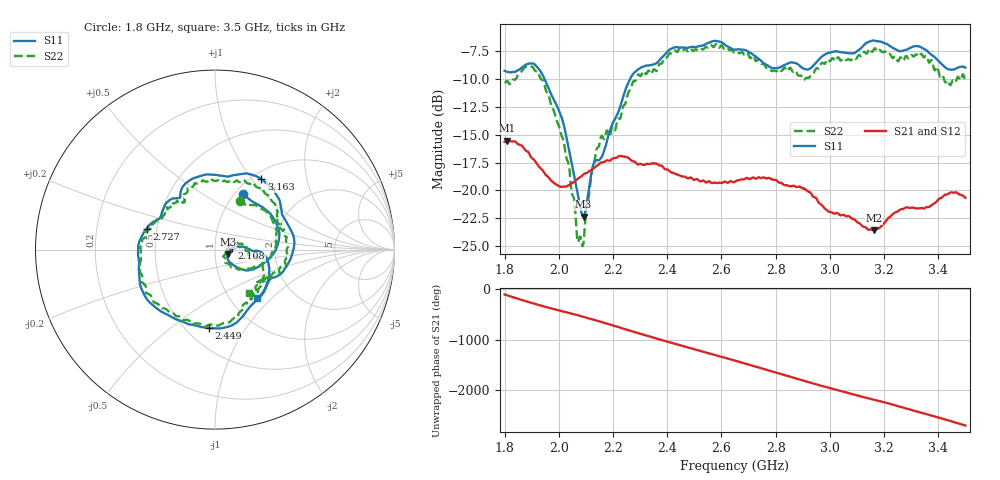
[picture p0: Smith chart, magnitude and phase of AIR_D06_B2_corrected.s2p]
! Created with skrf 1.9.0 (http://scikit-rf.org).
# Hz S RI R 50.0
!freq ReS11 ImS11 ReS21 ImS21 ReS12 ImS12 ReS22 ImS22
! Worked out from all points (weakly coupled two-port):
!   1601 points, 1.8 GHz to 3.5 GHz, reference 50 ohm
!   highest |S21| = -15.54 dB at 1.811 GHz (marker M1); lowest = -23.6 dB at 3.163 GHz (marker M2)
!   lowest |S11| = -22.4 dB at 2.091 GHz (marker M3), VSWR 1.17, Z = 57.7 - j2.93 ohm
!   |S11| at or under -10 dB: 1.947 GHz to 2.262 GHz (315.1 MHz wide, 15 % of centre)
!   |S22| runs from -25.0 to -6.9 dB; largest |S21 - S12| = 0.0027
!   S11 on the Smith chart (normalised r, x): 1.8 GHz: 1.09, +0.76; 2.108 GHz: 1.21, +0.02; 2.449 GHz: 0.64, -0.69; 2.727 GHz: 0.44, +0.12; 3.163 GHz: 1.11, +1.12; 3.5 GHz: 1.32, -0.81
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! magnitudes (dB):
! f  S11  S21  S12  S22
! 1.8 GHz  -9.3  -15.6  -15.6  -10.3
! 1.811 GHz  -9.4  -15.5  -15.5  -10.2
! 1.89 GHz  -8.6  -16.7  -16.7  -8.9
! 1.942 GHz  -9.7  -18.3  -18.3  -10.2
! 2.016 GHz  -13.9  -19.7  -19.7  -15.4
! 2.07 GHz  -20.3  -19.0  -19.0  -24.6
! 2.084 GHz  -22.0  -18.7  -18.7  -24.6
! 2.091 GHz  -22.4  -18.6  -18.6  -24.7
! 2.108 GHz  -20.3  -18.4  -18.4  -20.9
! 2.127 GHz  -17.7  -18.1  -18.0  -17.8
! 2.15 GHz  -17.3  -17.6  -17.6  -15.9
! 2.209 GHz  -13.5  -17.1  -17.0  -14.5
! 2.263 GHz  -10.0  -17.2  -17.2  -11.0
! 2.367 GHz  -8.4  -17.7  -17.6  -8.9
! 2.449 GHz  -7.2  -18.7  -18.7  -7.3
! 2.65 GHz  -7.4  -19.2  -19.2  -7.6
! 2.727 GHz  -8.0  -18.9  -18.9  -8.4
! 2.934 GHz  -8.9  -20.4  -20.4  -9.6
! 3.163 GHz  -6.5  -23.6  -23.5  -7.3
! 3.217 GHz  -7.0  -22.4  -22.4  -7.8
! 3.343 GHz  -7.2  -21.6  -21.6  -7.9
! 3.5 GHz  -9.0  -20.7  -20.6  -10.3
